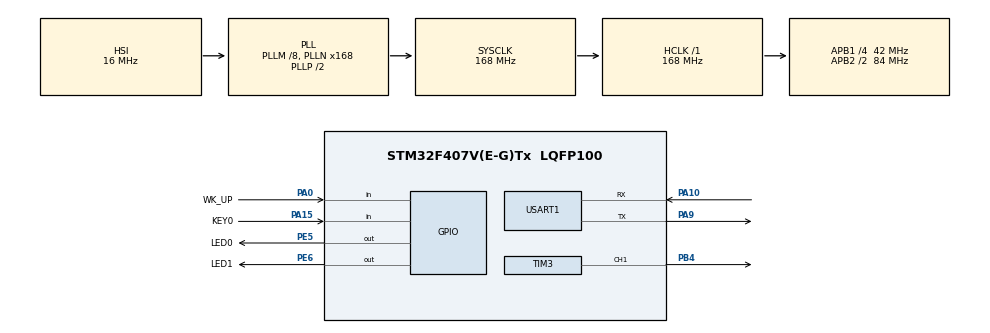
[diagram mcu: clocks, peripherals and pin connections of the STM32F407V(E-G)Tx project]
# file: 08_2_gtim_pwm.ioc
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Mcu.Family=STM32F4
Mcu.Name=STM32F407V(E-G)Tx
Mcu.Package=LQFP100
NVIC.PriorityGroup=NVIC_PRIORITYGROUP_2
NVIC.USART1_IRQn=true\:2\:2\:true\:false\:true\:true\:true\:true
PA0-WKUP.GPIO_Label=WK_UP
PA0-WKUP.GPIO_PuPd=GPIO_PULLDOWN
PA0-WKUP.Signal=GPIO_Input
PA10.Mode=Asynchronous
PA10.Signal=USART1_RX
PA13.Mode=Serial_Wire
PA13.Signal=SYS_JTMS-SWDIO
PA14.Mode=Serial_Wire
PA14.Signal=SYS_JTCK-SWCLK
PA15.GPIO_Label=KEY0
PA15.GPIO_PuPd=GPIO_PULLDOWN
PA15.Signal=GPIO_Input
PA9.Mode=Asynchronous
PA9.Signal=USART1_TX
PB4.Signal=S_TIM3_CH1
PC14-OSC32_IN.Mode=LSE-External-Oscillator
PC14-OSC32_IN.Signal=RCC_OSC32_IN
PC15-OSC32_OUT.Mode=LSE-External-Oscillator
PC15-OSC32_OUT.Signal=RCC_OSC32_OUT
PE5.GPIO_Label=LED0
PE5.GPIO_PuPd=GPIO_PULLUP
PE5.GPIO_Speed=GPIO_SPEED_FREQ_HIGH
PE5.PinState=GPIO_PIN_SET
PE5.Signal=GPIO_Output
PE6.GPIO_Label=LED1
PE6.GPIO_PuPd=GPIO_PULLUP
PE6.GPIO_Speed=GPIO_SPEED_FREQ_HIGH
PE6.PinState=GPIO_PIN_SET
PE6.Signal=GPIO_Output
PH0-OSC_IN.Mode=HSE-External-Oscillator
PH0-OSC_IN.Signal=RCC_OSC_IN
PH1-OSC_OUT.Mode=HSE-External-Oscillator
PH1-OSC_OUT.Signal=RCC_OSC_OUT
ProjectManager.HeapSize=0x200
ProjectManager.StackSize=0x400
ProjectManager.TargetToolchain=STM32CubeIDE
RCC.48MHZClocksFreq_Value=84000000
RCC.AHBFreq_Value=168000000
RCC.APB1CLKDivider=RCC_HCLK_DIV4
RCC.APB1Freq_Value=42000000
RCC.APB1TimFreq_Value=84000000
RCC.APB2CLKDivider=RCC_HCLK_DIV2
RCC.APB2Freq_Value=84000000
RCC.APB2TimFreq_Value=168000000
RCC.CortexFreq_Value=168000000
RCC.HCLKFreq_Value=168000000
RCC.HSE_VALUE=25000000
RCC.HSI_VALUE=16000000
RCC.PLLM=8
RCC.PLLN=168
RCC.SYSCLKFreq_VALUE=168000000
RCC.SYSCLKSource=RCC_SYSCLKSOURCE_PLLCLK
RCC.VCOOutputFreq_Value=336000000
SH.S_TIM3_CH1.0=TIM3_CH1,PWM Generation1 CH1
TIM3.AutoReloadPreload=TIM_AUTORELOAD_PRELOAD_ENABLE
TIM3.Channel-PWM\ Generation1\ CH1=TIM_CHANNEL_1
TIM3.OCPolarity_1=TIM_OCPOLARITY_LOW
TIM3.Period=500-1
TIM3.Prescaler=84-1
TIM3.Pulse-PWM\ Generation1\ CH1=250
USART1.VirtualMode=VM_ASYNC
VP_TIM3_VS_ClockSourceINT.Mode=Internal
board=custom

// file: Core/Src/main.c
/**
 ****************************************************************************************************
 * @file        main.c
 * @author      ALIENTEK
 * @brief       general-purpose timer PWM output code
 * @license     Copyright (C) 2012-2024, ALIENTEK
 ****************************************************************************************************
 * @attention
 *
 * platform     : ALIENTEK M100-STM32F407 board
 * website      : www.alientek.com
 * forum        : www.openedv.com/forum.php
 *
 * change logs  :
 * version      data         notes
 * V1.0         20240409     the first version
 *
 ****************************************************************************************************
 */

/* USER CODE BEGIN Header */

/* USER CODE END Header */
#include "main.h"
#include "tim.h"
#include "usart.h"
#include "gpio.h"

/* USER CODE BEGIN Includes */
#include "../../BSP/LED/led.h"
#include "../../BSP/KEY/key.h"
/* USER CODE END Includes */

/* USER CODE BEGIN PD */
/**
 * @brief   Displays information about the experiment
 * @param   None
 * @retval  None
 */
void stm32f407vg_show_mesg(void)
{
	/* The serial port outputs the experimental information */
	printf("\n");
	printf("********************************\r\n");
	printf("STM32F407\r\n");
	printf("GTIM PWM Test\r\n");
	printf("ATOM@ALIENTEK\r\n");
	printf("********************************\r\n");
	printf("\r\n");
}
/* USER CODE END PD */

void SystemClock_Config(void);

int main(void)
{
  /* USER CODE BEGIN 1 */
  uint16_t compare = 0;
  uint8_t counter = 0;
  /* USER CODE END 1 */

  /* MCU Configuration--------------------------------------------------------*/

  /* Reset of all peripherals, Initializes the Flash interface and the Systick. */
  HAL_Init();

  /* Configure the system clock */
  SystemClock_Config();

  /* Initialize all configured peripherals */
  MX_GPIO_Init();
  MX_USART1_UART_Init();
  MX_TIM3_Init();
  /* USER CODE BEGIN 2 */
  stm32f407vg_show_mesg();
  /* USER CODE END 2 */

  /* Infinite loop */
  /* USER CODE BEGIN WHILE */
  while (1)
  {
	  HAL_Delay(10);     /* delay 10ms */

	  if (compare++ >= 300)
	  {
	     compare = 100;
	  }
	  __HAL_TIM_SET_COMPARE(&htim3, TIM_CHANNEL_1, compare);
	  /* Modify the comparison value to control the duty cycle */

	  if (counter++ == 20)
	  {
	  	 counter = 0;
	  	 LED0_TOGGLE();
	  }
    /* USER CODE END WHILE */

  }
}

void SystemClock_Config(void)
{
  RCC_OscInitTypeDef RCC_OscInitStruct = {0};
  RCC_ClkInitTypeDef RCC_ClkInitStruct = {0};

  /** Configure the main internal regulator output voltage
  */
  __HAL_RCC_PWR_CLK_ENABLE();
  __HAL_PWR_VOLTAGESCALING_CONFIG(PWR_REGULATOR_VOLTAGE_SCALE1);

  /** Initializes the RCC Oscillators according to the specified parameters
  * in the RCC_OscInitTypeDef structure.
  */
  RCC_OscInitStruct.OscillatorType = RCC_OSCILLATORTYPE_HSI;
  RCC_OscInitStruct.HSIState = RCC_HSI_ON;
  RCC_OscInitStruct.HSICalibrationValue = RCC_HSICALIBRATION_DEFAULT;
  RCC_OscInitStruct.PLL.PLLState = RCC_PLL_ON;
  RCC_OscInitStruct.PLL.PLLSource = RCC_PLLSOURCE_HSI;
  RCC_OscInitStruct.PLL.PLLM = 8;
  RCC_OscInitStruct.PLL.PLLN = 168;
  RCC_OscInitStruct.PLL.PLLP = RCC_PLLP_DIV2;
  RCC_OscInitStruct.PLL.PLLQ = 4;
  if (HAL_RCC_OscConfig(&RCC_OscInitStruct) != HAL_OK)
  {
    Error_Handler();
  }

  /** Initializes the CPU, AHB and APB buses clocks
  */
  RCC_ClkInitStruct.ClockType = RCC_CLOCKTYPE_HCLK|RCC_CLOCKTYPE_SYSCLK
                              |RCC_CLOCKTYPE_PCLK1|RCC_CLOCKTYPE_PCLK2;
  RCC_ClkInitStruct.SYSCLKSource = RCC_SYSCLKSOURCE_PLLCLK;
  RCC_ClkInitStruct.AHBCLKDivider = RCC_SYSCLK_DIV1;
  RCC_ClkInitStruct.APB1CLKDivider = RCC_HCLK_DIV4;
  RCC_ClkInitStruct.APB2CLKDivider = RCC_HCLK_DIV2;

  if (HAL_RCC_ClockConfig(&RCC_ClkInitStruct, FLASH_LATENCY_5) != HAL_OK)
  {
    Error_Handler();
  }
}

void Error_Handler(void)
{
  __disable_irq();
  while (1)
  {
  }
}
